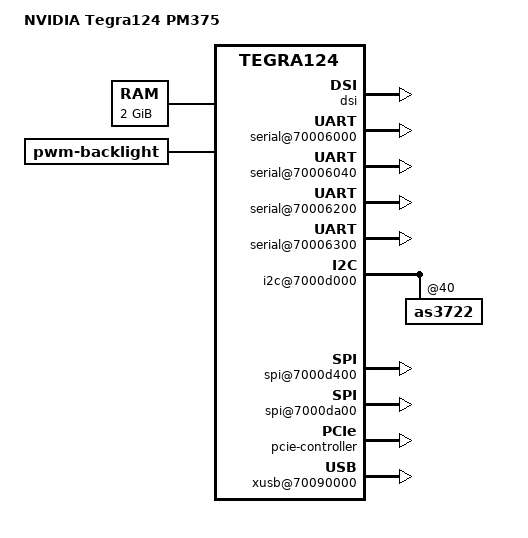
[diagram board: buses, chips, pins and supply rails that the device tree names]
/*
 * arch/arm/boot/dts/tegra124-jetson_tk1-pm375-000-c00-00.dts
 *
 * Copyright (c) 2014, NVIDIA CORPORATION.  All rights reserved.
 *
 * This program is free software; you can redistribute it and/or modify
 * it under the terms of the GNU General Public License as published by
 * the Free Software Foundation; either version 2 of the License, or
 * (at your option) any later version.
 *
 * This program is distributed in the hope that it will be useful, but WITHOUT
 * ANY WARRANTY; without even the implied warranty of MERCHANTABILITY or
 * FITNESS FOR A PARTICULAR PURPOSE.  See the GNU General Public License for
 * more details.
 *
 * You should have received a copy of the GNU General Public License along
 * with this program; if not, write to the Free Software Foundation, Inc.,
 * 51 Franklin Street, Fifth Floor, Boston, MA  02110-1301, USA.
 */

/dts-v1/;

#include "tegra124-soc-shield.dtsi"
#include "tegra124-platforms/tegra124-tn8-keys-e1780-1100-a02.dtsi"
#include "tegra124-platforms/tegra124-jetson_tk1-gpio-pm375-0000-c00-00.dtsi"
#include "tegra124-platforms/tegra124-jetson_tk1-pinmux-pm375-0000-c00-00.dtsi"
#include "tegra124-platforms/tegra124-jetson-power-tree-pm375-0000-c00.dtsi"
#include "panel-p-wuxga-10-1.dtsi"
#include "tegra124-platforms/tegra124-laguna-hdmi-pm375-1000-a00.dtsi"
#include "tegra124-platforms/tegra124-pm359-camera-a00.dtsi"

/ {
	model = "NVIDIA Tegra124 PM375";
	compatible = "nvidia,jetson-tk1", "nvidia,tegra124";
	nvidia,dtsfilename = __FILE__;
	#address-cells = <2>;
	#size-cells = <2>;

	chosen {
		bootargs = "tegraid=40.0.0.00.00 vmalloc=256M video=tegrafb console=ttyS0,115200n8 earlyprintk";
	};

	firmware {
		android {
			compatible = "android,firmware";
			hardware = "jetson-tk1";
		};
	};

	host1x {
		/* tegradc.0 */
		dc@54200000 {
			status = "okay";
			nvidia,dc-flags = <TEGRA_DC_FLAG_ENABLED>;
			nvidia,emc-clk-rate = <204000000>;
			nvidia,cmu-enable = <1>;
			nvidia,low-v-win = <0x2>;
			nvidia,fb-bpp = <32>; /* bits per pixel */
			nvidia,fb-flags = <TEGRA_FB_FLIP_ON_PROBE>;
		};
		/* tegradc.1 */
		dc@54240000 {
			status = "okay";
			nvidia,dc-flags = <TEGRA_DC_FLAG_ENABLED>;
			nvidia,emc-clk-rate = <300000000>;
			nvidia,fb-bpp = <32>; /* bits per pixel */
			nvidia,fb-flags = <TEGRA_FB_FLIP_ON_PROBE>;
		};
		dsi {
			nvidia,dsi-controller-vs = <1>;
			status = "okay";
			panel-p-wuxga-10-1 {
				nvidia,dsi-dpd-pads = <DSIC_DPD_EN DSID_DPD_EN>;
				nvidia,panel-rst-gpio = <&gpio TEGRA_GPIO(H, 3) 0>; /* PH3 */
				nvidia,panel-bl-pwm-gpio = <&gpio TEGRA_GPIO(H, 1) 0>; /* PH1 */
			};
		};
	};

	pinmux@70000868 {
		pinctrl-names = "default", "drive", "unused", "suspend";
		pinctrl-3 = <&pinmux_suspend>;

		/* Change the pin dap_mclk1_req to required configurations */
		unused_lowpower {
			dap_mclk1_req_pee2 {
			nvidia,pins = "dap_mclk1_req_pee2";
			nvidia,function = "sata";
			nvidia,enable-input = <TEGRA_PIN_DISABLE>;
			nvidia,pull = <TEGRA_PIN_PULL_NONE>;
			nvidia,tristate = <TEGRA_PIN_DISABLE>;
			};
		};

		/* On suspend, make dap_mclk1_req to pull up */
		pinmux_suspend: pins_on_suspend {
		dap_mclk1_req_pee2 {
			nvidia,pins = "dap_mclk1_req_pee2";
			nvidia,pull = <TEGRA_PIN_PULL_UP>;
			};
		};
	};

        serial@70006000 {
                compatible = "nvidia,tegra114-hsuart";
                status = "okay";
        };

        serial@70006040 {
                compatible = "nvidia,tegra114-hsuart";
                status = "okay";
        };

        serial@70006200 {
                compatible = "nvidia,tegra114-hsuart";
                status = "okay";
        };

	serial@70006300 {
		compatible = "nvidia,tegra20-uart", "nvidia,tegra114-hsuart";
		console-port;
		sqa-automation-port;
		status = "okay";
	};

	i2c@7000d000 {
		nvidia,bit-banging-xfer-after-shutdown;

		as3722@40 {
			adc_extcon {
				ams,extcon-name = "as3722-extcon";
			};
		};
	};

	memory@0x80000000 {
		device_type = "memory";
		reg = <0x0 0x80000000 0x0 0x80000000>;
	};

	spi@7000d400 {
		status = "okay";
		spi-max-frequency = <25000000>;
	};

	spi@7000da00 {
		status = "okay";
		spi-max-frequency = <25000000>;
	};

	pmc@7000e400 {
		status = "okay";
		nvidia,invert-interrupt;
		nvidia,suspend-mode = <0>;
		nvidia,cpu-pwr-good-time = <500>;
		nvidia,cpu-pwr-off-time = <300>;
		nvidia,core-pwr-good-time = <3845 3845>;
		nvidia,core-pwr-off-time = <2000>;
		nvidia,core-power-req-active-high;
		nvidia,sys-clock-req-active-high;
		nvidia,lp0-vec = <0xf46ff000 2064>;
	};

	pcie-controller {
		hvdd-pex-supply = <&reg_3v3_supply>;
		hvdd-pex-pll-e-supply = <&reg_3v3_supply>;
		dvddio-pex-supply = <&as3722_sd4>;
		avddio-pex-supply = <&as3722_sd4>;
		avdd-pex-pll-supply = <&as3722_sd4>;
		vddio-pex-ctl-supply = <&as3722_sd4>;
		nvidia,lane-map = <0x10>;
		status = "okay";
		pci@1,0 {
			status = "okay";
		};

		pci@2,0 {
			status = "okay";
		};
	};

	xusb@70090000 {
		/* nvidia,uses_external_pmic;
		nvidia,gpio_controls_muxed_ss_lanes; */
		nvidia,gpio_ss1_sata = <0>;
		nvidia,portmap = <0x701>; /* SSP0, USB2P0, USBP2 */
		nvidia,ss_portmap = <0x72>; /* SSP0 on USB2P2 */
		nvidia,lane_owner = <4>; /* USB3P0 USB3P1 */
		nvidia,ulpicap = <0>; /* No ulpi support. can we remove */
		status = "okay";
	};
	backlight {
		compatible = "pwm-backlight";
		status = "okay";
	};
};
